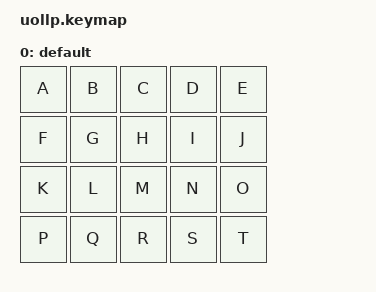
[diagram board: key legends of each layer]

#include <behaviors.dtsi>
#include <dt-bindings/zmk/keys.h>

/ {

	chosen {
		zmk,physical-layout = &layout4x5x1;
	};

	keymap {
		
		compatible = "zmk,keymap";
		default {
			bindings = <
				&kp A	&kp B	&kp C	&kp D	&kp E
				&kp F	&kp G	&kp H	&kp I	&kp J
				&kp K	&kp L	&kp M	&kp N	&kp O
				&kp P	&kp Q	&kp R	&kp S	&kp T
			>;
		};
	};
};
